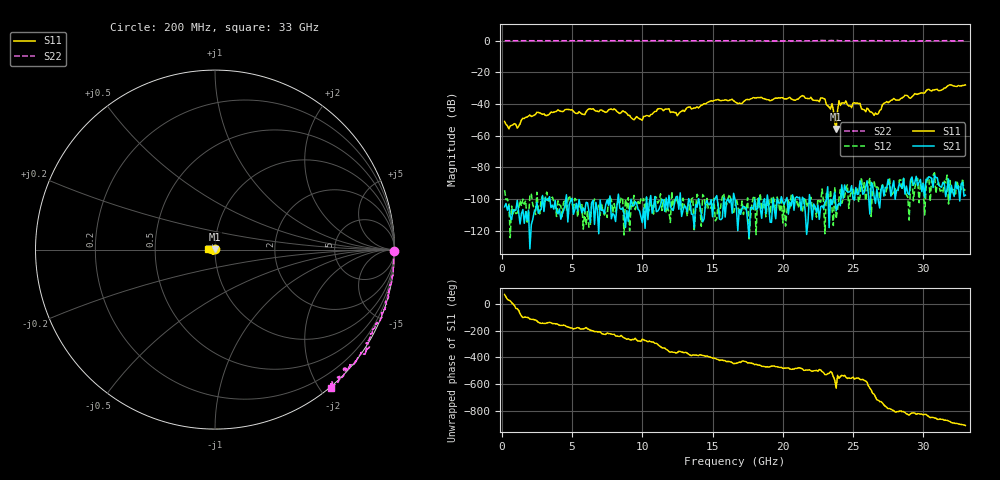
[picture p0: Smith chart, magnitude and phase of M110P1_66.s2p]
# GHZ S RI R 50
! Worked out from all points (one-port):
!   329 points, 200 MHz to 33 GHz, reference 50 ohm
!   lowest |S11| = -55.8 dB at 23.8 GHz (marker M1), VSWR 1.00, Z = 50 + j0.162 ohm
!   |S11| at or under -10 dB: start of sweep to end of sweep
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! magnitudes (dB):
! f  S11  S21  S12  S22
! 200 MHz  -51.0  -105.0  -94.4  0.0
! 1.1 GHz  -55.2  -100.9  -108.9  0.0
! 1.5 GHz  -49.0  -106.7  -100.1  0.0
! 2.5 GHz  -45.2  -102.1  -95.7  0.0
! 5.7 GHz  -46.4  -108.8  -103.6  0.0
! 8 GHz  -43.1  -110.2  -103.0  0.0
! 10 GHz  -50.2  -114.9  -101.4  0.0
! 11.2 GHz  -42.9  -106.3  -101.1  0.0
! 12.5 GHz  -47.4  -98.3  -101.7  -0.1
! 14.9 GHz  -37.9  -100.4  -105.2  0.0
! 16.6 GHz  -38.7  -100.2  -105.0  -0.1
! 22.1 GHz  -37.2  -113.0  -105.8  -0.1
! 23 GHz  -36.8  -102.1  -122.0  0.0
! 23.4 GHz  -43.2  -100.3  -94.4  0.1
! 23.5 GHz  -39.8  -103.6  -105.9  0.1
! 23.8 GHz  -55.8  -107.5  -112.5  0.1
! 24 GHz  -37.9  -102.6  -99.9  0.0
! 24.9 GHz  -42.3  -91.6  -95.8  0.0
! 25.5 GHz  -39.6  -88.5  -98.8  0.0
! 26.5 GHz  -47.2  -98.3  -88.8  0.0
! 27.6 GHz  -38.5  -90.7  -86.6  -0.1
! 33 GHz  -27.9  -97.6  -94.2  0.0
